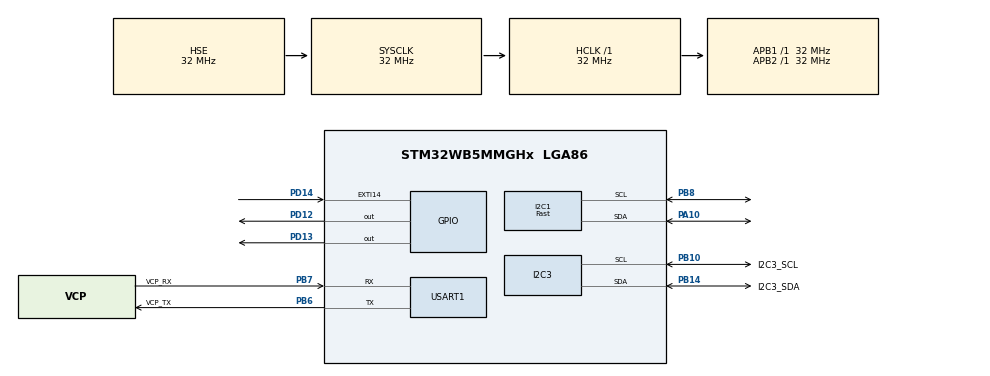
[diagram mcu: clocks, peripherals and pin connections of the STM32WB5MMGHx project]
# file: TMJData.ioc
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Dma.I2C1_RX.0.Direction=DMA_PERIPH_TO_MEMORY
Dma.I2C1_RX.0.EventEnable=DISABLE
Dma.I2C1_RX.0.Instance=DMA1_Channel1
Dma.I2C1_RX.0.MemDataAlignment=DMA_MDATAALIGN_BYTE
Dma.I2C1_RX.0.MemInc=DMA_MINC_ENABLE
Dma.I2C1_RX.0.Mode=DMA_NORMAL
Dma.I2C1_RX.0.PeriphDataAlignment=DMA_PDATAALIGN_BYTE
Dma.I2C1_RX.0.PeriphInc=DMA_PINC_DISABLE
Dma.I2C1_RX.0.Polarity=HAL_DMAMUX_REQ_GEN_RISING
Dma.I2C1_RX.0.Priority=DMA_PRIORITY_LOW
Dma.I2C1_RX.0.RequestNumber=1
Dma.I2C1_RX.0.SignalID=NONE
Dma.I2C1_RX.0.SyncEnable=DISABLE
Dma.I2C1_RX.0.SyncPolarity=HAL_DMAMUX_SYNC_NO_EVENT
Dma.I2C1_RX.0.SyncRequestNumber=1
Dma.I2C1_RX.0.SyncSignalID=NONE
Dma.I2C1_TX.1.Direction=DMA_MEMORY_TO_PERIPH
Dma.I2C1_TX.1.EventEnable=DISABLE
Dma.I2C1_TX.1.Instance=DMA1_Channel2
Dma.I2C1_TX.1.MemDataAlignment=DMA_MDATAALIGN_BYTE
Dma.I2C1_TX.1.MemInc=DMA_MINC_ENABLE
Dma.I2C1_TX.1.Mode=DMA_NORMAL
Dma.I2C1_TX.1.PeriphDataAlignment=DMA_PDATAALIGN_BYTE
Dma.I2C1_TX.1.PeriphInc=DMA_PINC_DISABLE
Dma.I2C1_TX.1.Polarity=HAL_DMAMUX_REQ_GEN_RISING
Dma.I2C1_TX.1.Priority=DMA_PRIORITY_LOW
Dma.I2C1_TX.1.RequestNumber=1
Dma.I2C1_TX.1.SignalID=NONE
Dma.I2C1_TX.1.SyncEnable=DISABLE
Dma.I2C1_TX.1.SyncPolarity=HAL_DMAMUX_SYNC_NO_EVENT
Dma.I2C1_TX.1.SyncRequestNumber=1
Dma.I2C1_TX.1.SyncSignalID=NONE
Dma.I2C3_RX.2.Direction=DMA_PERIPH_TO_MEMORY
Dma.I2C3_RX.2.EventEnable=DISABLE
Dma.I2C3_RX.2.Instance=DMA1_Channel3
Dma.I2C3_RX.2.MemDataAlignment=DMA_MDATAALIGN_BYTE
Dma.I2C3_RX.2.MemInc=DMA_MINC_ENABLE
Dma.I2C3_RX.2.Mode=DMA_NORMAL
Dma.I2C3_RX.2.PeriphDataAlignment=DMA_PDATAALIGN_BYTE
Dma.I2C3_RX.2.PeriphInc=DMA_PINC_DISABLE
Dma.I2C3_RX.2.Polarity=HAL_DMAMUX_REQ_GEN_RISING
Dma.I2C3_RX.2.Priority=DMA_PRIORITY_LOW
Dma.I2C3_RX.2.RequestNumber=1
Dma.I2C3_RX.2.SignalID=NONE
Dma.I2C3_RX.2.SyncEnable=DISABLE
Dma.I2C3_RX.2.SyncPolarity=HAL_DMAMUX_SYNC_NO_EVENT
Dma.I2C3_RX.2.SyncRequestNumber=1
Dma.I2C3_RX.2.SyncSignalID=NONE
Dma.I2C3_TX.3.Direction=DMA_MEMORY_TO_PERIPH
Dma.I2C3_TX.3.EventEnable=DISABLE
Dma.I2C3_TX.3.Instance=DMA1_Channel4
Dma.I2C3_TX.3.MemDataAlignment=DMA_MDATAALIGN_BYTE
Dma.I2C3_TX.3.MemInc=DMA_MINC_ENABLE
Dma.I2C3_TX.3.Mode=DMA_NORMAL
Dma.I2C3_TX.3.PeriphDataAlignment=DMA_PDATAALIGN_BYTE
Dma.I2C3_TX.3.PeriphInc=DMA_PINC_DISABLE
Dma.I2C3_TX.3.Polarity=HAL_DMAMUX_REQ_GEN_RISING
Dma.I2C3_TX.3.Priority=DMA_PRIORITY_LOW
Dma.I2C3_TX.3.RequestNumber=1
Dma.I2C3_TX.3.SignalID=NONE
Dma.I2C3_TX.3.SyncEnable=DISABLE
Dma.I2C3_TX.3.SyncPolarity=HAL_DMAMUX_SYNC_NO_EVENT
Dma.I2C3_TX.3.SyncRequestNumber=1
Dma.I2C3_TX.3.SyncSignalID=NONE
Dma.Request0=I2C1_RX
Dma.Request1=I2C1_TX
Dma.Request2=I2C3_RX
Dma.Request3=I2C3_TX
Dma.Request4=USART1_RX
Dma.Request5=USART1_TX
Dma.USART1_RX.4.Direction=DMA_PERIPH_TO_MEMORY
Dma.USART1_RX.4.EventEnable=DISABLE
Dma.USART1_RX.4.Instance=DMA1_Channel5
Dma.USART1_RX.4.MemDataAlignment=DMA_MDATAALIGN_BYTE
Dma.USART1_RX.4.MemInc=DMA_MINC_ENABLE
Dma.USART1_RX.4.Mode=DMA_NORMAL
Dma.USART1_RX.4.PeriphDataAlignment=DMA_PDATAALIGN_BYTE
Dma.USART1_RX.4.PeriphInc=DMA_PINC_DISABLE
Dma.USART1_RX.4.Polarity=HAL_DMAMUX_REQ_GEN_RISING
Dma.USART1_RX.4.Priority=DMA_PRIORITY_LOW
Dma.USART1_RX.4.RequestNumber=1
Dma.USART1_RX.4.SignalID=NONE
Dma.USART1_RX.4.SyncEnable=DISABLE
Dma.USART1_RX.4.SyncPolarity=HAL_DMAMUX_SYNC_NO_EVENT
Dma.USART1_RX.4.SyncRequestNumber=1
Dma.USART1_RX.4.SyncSignalID=NONE
Dma.USART1_TX.5.Direction=DMA_MEMORY_TO_PERIPH
Dma.USART1_TX.5.EventEnable=DISABLE
Dma.USART1_TX.5.Instance=DMA1_Channel6
Dma.USART1_TX.5.MemDataAlignment=DMA_MDATAALIGN_BYTE
Dma.USART1_TX.5.MemInc=DMA_MINC_ENABLE
Dma.USART1_TX.5.Mode=DMA_NORMAL
Dma.USART1_TX.5.PeriphDataAlignment=DMA_PDATAALIGN_BYTE
Dma.USART1_TX.5.PeriphInc=DMA_PINC_DISABLE
Dma.USART1_TX.5.Polarity=HAL_DMAMUX_REQ_GEN_RISING
Dma.USART1_TX.5.Priority=DMA_PRIORITY_LOW
Dma.USART1_TX.5.RequestNumber=1
Dma.USART1_TX.5.SignalID=NONE
Dma.USART1_TX.5.SyncEnable=DISABLE
Dma.USART1_TX.5.SyncPolarity=HAL_DMAMUX_SYNC_NO_EVENT
Dma.USART1_TX.5.SyncRequestNumber=1
Dma.USART1_TX.5.SyncSignalID=NONE
I2C1.I2C_Speed_Mode=I2C_Fast
I2C1.Timing=0x0060112F
I2C3.Timing=0x00B07CB4
Mcu.Family=STM32WB
Mcu.Name=STM32WB5MMGHx
Mcu.Package=LGA86
NVIC.DMA1_Channel1_IRQn=true\:2\:0\:true\:false\:true\:false\:true\:true
NVIC.DMA1_Channel2_IRQn=true\:2\:0\:true\:false\:true\:false\:true\:true
NVIC.DMA1_Channel3_IRQn=true\:2\:0\:true\:false\:true\:false\:true\:true
NVIC.DMA1_Channel4_IRQn=true\:2\:0\:true\:false\:true\:false\:true\:true
NVIC.DMA1_Channel5_IRQn=true\:0\:0\:false\:false\:true\:false\:true\:true
NVIC.DMA1_Channel6_IRQn=true\:0\:0\:false\:false\:true\:false\:true\:true
NVIC.EXTI15_10_IRQn=true\:4\:0\:true\:false\:true\:true\:true\:true
NVIC.HSEM_IRQn=true\:0\:0\:false\:false\:true\:false\:true\:true
NVIC.I2C1_ER_IRQn=true\:0\:0\:true\:false\:true\:true\:true\:true
NVIC.I2C1_EV_IRQn=true\:1\:0\:true\:false\:true\:true\:true\:true
NVIC.I2C3_ER_IRQn=true\:0\:0\:false\:false\:true\:true\:true\:true
NVIC.I2C3_EV_IRQn=true\:0\:0\:false\:false\:true\:true\:true\:true
NVIC.IPCC_C1_RX_IRQn=true\:0\:0\:false\:false\:true\:true\:true\:true
NVIC.IPCC_C1_TX_IRQn=true\:0\:0\:false\:false\:true\:true\:true\:true
NVIC.PriorityGroup=NVIC_PRIORITYGROUP_4
NVIC.RTC_WKUP_IRQn=true\:0\:0\:false\:false\:true\:true\:true\:true
NVIC.USART1_IRQn=true\:0\:0\:false\:false\:true\:true\:true\:true
PA10.GPIO_Mode=GPIO_MODE_AF_OD
PA10.GPIO_Pu=GPIO_PULLUP
PA10.GPIO_Speed=GPIO_SPEED_FREQ_VERY_HIGH
PA10.Mode=I2C
PA10.Signal=I2C1_SDA
PA13.GPIO_Label=T_SWDIO
PA13.Mode=Serial_Wire
PA13.Signal=SYS_JTMS-SWDIO
PA14.GPIO_Label=T_SWCLK
PA14.Mode=Serial_Wire
PA14.Signal=SYS_JTCK-SWCLK
PB10.GPIO_Label=I2C3_SCL
PB10.GPIO_Pu=GPIO_PULLUP
PB10.GPIO_Speed=GPIO_SPEED_FREQ_HIGH
PB10.Mode=I2C
PB10.Signal=I2C3_SCL
PB14.GPIO_Label=I2C3_SDA
PB14.GPIO_Pu=GPIO_PULLUP
PB14.GPIO_Speed=GPIO_SPEED_FREQ_HIGH
PB14.Mode=I2C
PB14.Signal=I2C3_SDA
PB6.GPIO_Label=VCP_TX
PB6.Mode=Asynchronous
PB6.Signal=USART1_TX
PB7.GPIO_Label=VCP_RX
PB7.Mode=Asynchronous
PB7.Signal=USART1_RX
PB8.GPIO_Mode=GPIO_MODE_AF_OD
PB8.GPIO_Pu=GPIO_PULLUP
PB8.GPIO_Speed=GPIO_SPEED_FREQ_VERY_HIGH
PB8.Mode=I2C
PB8.Signal=I2C1_SCL
PD12.Signal=GPIO_Output
PD13.Signal=GPIO_Output
PD14.GPIO_PuPd=GPIO_PULLDOWN
PD14.Signal=GPXTI14
ProjectManager.HeapSize=0x200
ProjectManager.StackSize=0x400
ProjectManager.TargetToolchain=STM32CubeIDE
RCC.AHBFreq_Value=32000000
RCC.APB1Freq_Value=32000000
RCC.APB1TimFreq_Value=32000000
RCC.APB2Freq_Value=32000000
RCC.APB2TimFreq_Value=32000000
RCC.APB3Freq_Value=16000000
RCC.CortexFreq_Value=32000000
RCC.HCLKFreq_Value=32000000
RCC.HSE_VALUE=32000000
RCC.HSI48_VALUE=48000000
RCC.HSI_VALUE=16000000
RCC.PLLN=24
RCC.PLLR=RCC_PLLR_DIV3
RCC.RFWKPClockSelection=RCC_RFWKPCLKSOURCE_LSE
RCC.RTCClockSelection=RCC_RTCCLKSOURCE_LSE
RCC.SYSCLKFreq_VALUE=32000000
RCC.SYSCLKSource=RCC_SYSCLKSOURCE_HSE
RCC.VCOOutputFreq_Value=96000000
STM32_WPAN.BLE_DBG_APP_EN=1
STM32_WPAN.CFG_DEBUG_APP_TRACE=1
STM32_WPAN.CFG_DEBUG_BLE_TRACE=1
STM32_WPAN.CFG_DEBUG_TRACE_LIGHT=1
STM32_WPAN.CFG_DEBUG_TRACE_UART=hw_uart1
STM32_WPAN.CFG_HW_USART1_ENABLED=1
STM32_WPAN.CFG_LPM_SUPPORTED=0
STM32_WPAN.CFG_LSCLK_LSE=0
STM32_WPAN.LOCAL_NAME=TMJData
STM32_WPAN.LOCAL_NAME_FORMATTED=,'T','M','J','D','a','t','a'
USART1.VirtualMode-Asynchronous=VM_ASYNC
VP_HSEM_VS_HSEM.Mode=HSEM_Activate
VP_IPCC_VS_IPCC.Mode=IPCC_Activate
VP_MEMORYMAP_VS_MEMORYMAP.Mode=CurAppReg
VP_RCC_V_OSC32_IN.Mode=LSE-External-Clock-Source
VP_RCC_V_OSC_IN.Mode=HSE-External-Clock-Source
VP_RF_VS_RF.Mode=RF_Activate
VP_RTC_VS_RTC_Activate.Mode=RTC_Enabled
VP_RTC_VS_RTC_WakeUp_intern.Mode=WakeUp
VP_SEQUENCER_VS_SEQUENCER.Mode=SEQUENCER_Enabled
VP_STM32_WPAN_VS_BLE_HOST.Mode=STM32_WPAN_Enabled
VP_TINY_LPM_VS_TINY_LPM.Mode=TINY_LPM_Enabled
board=STM32WB5MM-DK

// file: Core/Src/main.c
/* USER CODE BEGIN Header */
/**
  ******************************************************************************
  * @file           : main.c
  * @brief          : Main program body
  ******************************************************************************
  * @attention
  *
  * Copyright (c) 2025 STMicroelectronics.
  * All rights reserved.
  *
  * This software is licensed under terms that can be found in the LICENSE file
  * in the root directory of this software component.
  * If no LICENSE file comes with this software, it is provided AS-IS.
  *
  ******************************************************************************
  */
/* USER CODE END Header */
#include "main.h"

/* USER CODE BEGIN Includes */
#include "IMUFunctions.h"
#include "MagFunctions.h"
#include "Mahony.h"
#include "p2p_server_app.h"
/* USER CODE END Includes */

I2C_HandleTypeDef hi2c1;
I2C_HandleTypeDef hi2c3;
DMA_HandleTypeDef hdma_i2c1_rx;
DMA_HandleTypeDef hdma_i2c1_tx;
DMA_HandleTypeDef hdma_i2c3_rx;
DMA_HandleTypeDef hdma_i2c3_tx;

IPCC_HandleTypeDef hipcc;

RTC_HandleTypeDef hrtc;

UART_HandleTypeDef huart1;
DMA_HandleTypeDef hdma_usart1_rx;
DMA_HandleTypeDef hdma_usart1_tx;

/* USER CODE BEGIN PV */

// UART variables
volatile char uartRxBuffer[20];
volatile uint8_t uartRxIndex = 0;
volatile uint8_t UARTSendData = 0;
volatile uint8_t ClearSampleIndex = 0;

/* USER CODE END PV */

void SystemClock_Config(void);
void PeriphCommonClock_Config(void);
void MX_GPIO_Init(void);
void MX_DMA_Init(void);
void MX_I2C1_Init(void);
void MX_I2C3_Init(void);
void MX_IPCC_Init(void);
void MX_RTC_Init(void);
void MX_USART1_UART_Init(void);
void MX_RF_Init(void);

int main(void)
{

  /* MCU Configuration--------------------------------------------------------*/

  /* Reset of all peripherals, Initializes the Flash interface and the Systick. */
  HAL_Init();
  /* Config code for STM32_WPAN (HSE Tuning must be done before system clock configuration) */
  MX_APPE_Config();

  /* Configure the system clock */
  SystemClock_Config();

  /* Configure the peripherals common clocks */
  PeriphCommonClock_Config();

  /* IPCC initialisation */
  MX_IPCC_Init();

  /* Initialize all configured peripherals */
  MX_GPIO_Init();
  MX_DMA_Init();
  MX_I2C1_Init();
  MX_I2C3_Init();
  MX_RTC_Init();
  MX_USART1_UART_Init();
  MX_RF_Init();
  /* USER CODE BEGIN 2 */

  IMUInit(); // initialize the IMU
  MagInit(); // initialize the magnetic sensor

  if ( (IMUState == IMU_IDLE) && (MagState == MAG_IDLE) )
  {
	  // toggle led to show initialisation success
	  HAL_GPIO_WritePin(GPIOD, GPIO_PIN_12, SET);
	  HAL_Delay(500);
	  HAL_GPIO_WritePin(GPIOD, GPIO_PIN_12, RESET);
  }
  /* USER CODE END 2 */

  /* Init code for STM32_WPAN */
  MX_APPE_Init();

  /* Infinite loop */
  while (1)
  {
    MX_APPE_Process();

    /* USER CODE BEGIN 3 */
	  // magnetic sensor
	  if (MagSMFlag == 1)
	  {
	      MagSingleMode();
	  }
	  if ((MagState == MAG_SINGLEMEASUREMENT) && (MagDMABusy == 0)  && (MagSMFlag == 0))
	  {
		  MagRead();
	  }
	  if (MagGetDataFlag == 1)
	  {
	      MagGetData();
	  }

	  // IMU
	  if( (IMUDataReadyFlag == 1) && (IMUGetDataFlag == 0) && (IMUState == IMU_IDLE))
	  {
		  IMURead();
	  }
	  if (IMUGetDataFlag == 1)
	  {
		  IMUGetData();
	  }

	  // madgwick filter
	  if ( (IMUMadgwick==1) && (MagMadgwick == 1) )
	  {
		  IMUAverage();
		  MagAverage();
//		  UpdateMadgwick();		// put data through madgwick filter
		  MahonyAHRSupdate();

		  // update the sensor data for BLE transmission
		  P2PS_APP_Update_SensorData();

		  // reset the flags
		  IMUMadgwick = 0;
		  MagMadgwick = 0;
	  }

	  // UART
	  if ( UARTSendData == 1 )
	  {
		  SendDataOverUART();
		 // UARTSendData = 0;
	  }
	  if ( ClearSampleIndex == 1 )
	  {
		  ClearDataOverUART();
		 // ClearSampleIndex = 0;
	  }
  }
  /* USER CODE END 3 */
}

void SystemClock_Config(void)
{
  RCC_OscInitTypeDef RCC_OscInitStruct = {0};
  RCC_ClkInitTypeDef RCC_ClkInitStruct = {0};

  /** Configure LSE Drive Capability
  */
  HAL_PWR_EnableBkUpAccess();
  __HAL_RCC_LSEDRIVE_CONFIG(RCC_LSEDRIVE_MEDIUMHIGH);

  /** Configure the main internal regulator output voltage
  */
  __HAL_PWR_VOLTAGESCALING_CONFIG(PWR_REGULATOR_VOLTAGE_SCALE1);

  /** Initializes the RCC Oscillators according to the specified parameters
  * in the RCC_OscInitTypeDef structure.
  */
  RCC_OscInitStruct.OscillatorType = RCC_OSCILLATORTYPE_HSI|RCC_OSCILLATORTYPE_HSE
                              |RCC_OSCILLATORTYPE_LSE;
  RCC_OscInitStruct.HSEState = RCC_HSE_ON;
  RCC_OscInitStruct.LSEState = RCC_LSE_ON;
  RCC_OscInitStruct.HSIState = RCC_HSI_ON;
  RCC_OscInitStruct.HSICalibrationValue = RCC_HSICALIBRATION_DEFAULT;
  RCC_OscInitStruct.PLL.PLLState = RCC_PLL_NONE;
  if (HAL_RCC_OscConfig(&RCC_OscInitStruct) != HAL_OK)
  {
    Error_Handler();
  }

  /** Configure the SYSCLKSource, HCLK, PCLK1 and PCLK2 clocks dividers
  */
  RCC_ClkInitStruct.ClockType = RCC_CLOCKTYPE_HCLK4|RCC_CLOCKTYPE_HCLK2
                              |RCC_CLOCKTYPE_HCLK|RCC_CLOCKTYPE_SYSCLK
                              |RCC_CLOCKTYPE_PCLK1|RCC_CLOCKTYPE_PCLK2;
  RCC_ClkInitStruct.SYSCLKSource = RCC_SYSCLKSOURCE_HSE;
  RCC_ClkInitStruct.AHBCLKDivider = RCC_SYSCLK_DIV1;
  RCC_ClkInitStruct.APB1CLKDivider = RCC_HCLK_DIV1;
  RCC_ClkInitStruct.APB2CLKDivider = RCC_HCLK_DIV1;
  RCC_ClkInitStruct.AHBCLK2Divider = RCC_SYSCLK_DIV1;
  RCC_ClkInitStruct.AHBCLK4Divider = RCC_SYSCLK_DIV1;

  if (HAL_RCC_ClockConfig(&RCC_ClkInitStruct, FLASH_LATENCY_1) != HAL_OK)
  {
    Error_Handler();
  }
}

void PeriphCommonClock_Config(void)
{
  RCC_PeriphCLKInitTypeDef PeriphClkInitStruct = {0};

  /** Initializes the peripherals clock
  */
  PeriphClkInitStruct.PeriphClockSelection = RCC_PERIPHCLK_SMPS|RCC_PERIPHCLK_RFWAKEUP;
  PeriphClkInitStruct.RFWakeUpClockSelection = RCC_RFWKPCLKSOURCE_LSE;
  PeriphClkInitStruct.SmpsClockSelection = RCC_SMPSCLKSOURCE_HSI;
  PeriphClkInitStruct.SmpsDivSelection = RCC_SMPSCLKDIV_RANGE1;

  if (HAL_RCCEx_PeriphCLKConfig(&PeriphClkInitStruct) != HAL_OK)
  {
    Error_Handler();
  }
}

void MX_I2C1_Init(void)
{

  hi2c1.Instance = I2C1;
  hi2c1.Init.Timing = 0x0060112F;
  hi2c1.Init.OwnAddress1 = 0;
  hi2c1.Init.AddressingMode = I2C_ADDRESSINGMODE_7BIT;
  hi2c1.Init.DualAddressMode = I2C_DUALADDRESS_DISABLE;
  hi2c1.Init.OwnAddress2 = 0;
  hi2c1.Init.OwnAddress2Masks = I2C_OA2_NOMASK;
  hi2c1.Init.GeneralCallMode = I2C_GENERALCALL_DISABLE;
  hi2c1.Init.NoStretchMode = I2C_NOSTRETCH_DISABLE;
  if (HAL_I2C_Init(&hi2c1) != HAL_OK)
  {
    Error_Handler();
  }

  /** Configure Analogue filter
  */
  if (HAL_I2CEx_ConfigAnalogFilter(&hi2c1, I2C_ANALOGFILTER_ENABLE) != HAL_OK)
  {
    Error_Handler();
  }

  /** Configure Digital filter
  */
  if (HAL_I2CEx_ConfigDigitalFilter(&hi2c1, 0) != HAL_OK)
  {
    Error_Handler();
  }

}

void MX_I2C3_Init(void)
{

  hi2c3.Instance = I2C3;
  hi2c3.Init.Timing = 0x00B07CB4;
  hi2c3.Init.OwnAddress1 = 0;
  hi2c3.Init.AddressingMode = I2C_ADDRESSINGMODE_7BIT;
  hi2c3.Init.DualAddressMode = I2C_DUALADDRESS_DISABLE;
  hi2c3.Init.OwnAddress2 = 0;
  hi2c3.Init.OwnAddress2Masks = I2C_OA2_NOMASK;
  hi2c3.Init.GeneralCallMode = I2C_GENERALCALL_DISABLE;
  hi2c3.Init.NoStretchMode = I2C_NOSTRETCH_DISABLE;
  if (HAL_I2C_Init(&hi2c3) != HAL_OK)
  {
    Error_Handler();
  }

  /** Configure Analogue filter
  */
  if (HAL_I2CEx_ConfigAnalogFilter(&hi2c3, I2C_ANALOGFILTER_ENABLE) != HAL_OK)
  {
    Error_Handler();
  }

  /** Configure Digital filter
  */
  if (HAL_I2CEx_ConfigDigitalFilter(&hi2c3, 0) != HAL_OK)
  {
    Error_Handler();
  }

}

void MX_IPCC_Init(void)
{

  hipcc.Instance = IPCC;
  if (HAL_IPCC_Init(&hipcc) != HAL_OK)
  {
    Error_Handler();
  }

}

void MX_RF_Init(void)
{

}

void MX_RTC_Init(void)
{

  /** Initialize RTC Only
  */
  hrtc.Instance = RTC;
  hrtc.Init.HourFormat = RTC_HOURFORMAT_24;
  hrtc.Init.AsynchPrediv = CFG_RTC_ASYNCH_PRESCALER;
  hrtc.Init.SynchPrediv = CFG_RTC_SYNCH_PRESCALER;
  hrtc.Init.OutPut = RTC_OUTPUT_DISABLE;
  hrtc.Init.OutPutPolarity = RTC_OUTPUT_POLARITY_HIGH;
  hrtc.Init.OutPutType = RTC_OUTPUT_TYPE_OPENDRAIN;
  hrtc.Init.OutPutRemap = RTC_OUTPUT_REMAP_NONE;
  if (HAL_RTC_Init(&hrtc) != HAL_OK)
  {
    Error_Handler();
  }

  /** Enable the WakeUp
  */
  if (HAL_RTCEx_SetWakeUpTimer_IT(&hrtc, 0, RTC_WAKEUPCLOCK_RTCCLK_DIV16) != HAL_OK)
  {
    Error_Handler();
  }

}

void MX_USART1_UART_Init(void)
{

  huart1.Instance = USART1;
  huart1.Init.BaudRate = 115200;
  huart1.Init.WordLength = UART_WORDLENGTH_8B;
  huart1.Init.StopBits = UART_STOPBITS_1;
  huart1.Init.Parity = UART_PARITY_NONE;
  huart1.Init.Mode = UART_MODE_TX_RX;
  huart1.Init.HwFlowCtl = UART_HWCONTROL_NONE;
  huart1.Init.OverSampling = UART_OVERSAMPLING_8;
  huart1.Init.OneBitSampling = UART_ONE_BIT_SAMPLE_DISABLE;
  huart1.Init.ClockPrescaler = UART_PRESCALER_DIV1;
  huart1.AdvancedInit.AdvFeatureInit = UART_ADVFEATURE_NO_INIT;
  if (HAL_UART_Init(&huart1) != HAL_OK)
  {
    Error_Handler();
  }
  if (HAL_UARTEx_SetTxFifoThreshold(&huart1, UART_TXFIFO_THRESHOLD_1_8) != HAL_OK)
  {
    Error_Handler();
  }
  if (HAL_UARTEx_SetRxFifoThreshold(&huart1, UART_RXFIFO_THRESHOLD_1_8) != HAL_OK)
  {
    Error_Handler();
  }
  if (HAL_UARTEx_DisableFifoMode(&huart1) != HAL_OK)
  {
    Error_Handler();
  }

}

void MX_DMA_Init(void)
{

  /* DMA controller clock enable */
  __HAL_RCC_DMAMUX1_CLK_ENABLE();
  __HAL_RCC_DMA1_CLK_ENABLE();

  /* DMA interrupt init */
  /* DMA1_Channel1_IRQn interrupt configuration */
  HAL_NVIC_SetPriority(DMA1_Channel1_IRQn, 2, 0);
  HAL_NVIC_EnableIRQ(DMA1_Channel1_IRQn);
  /* DMA1_Channel2_IRQn interrupt configuration */
  HAL_NVIC_SetPriority(DMA1_Channel2_IRQn, 2, 0);
  HAL_NVIC_EnableIRQ(DMA1_Channel2_IRQn);
  /* DMA1_Channel3_IRQn interrupt configuration */
  HAL_NVIC_SetPriority(DMA1_Channel3_IRQn, 2, 0);
  HAL_NVIC_EnableIRQ(DMA1_Channel3_IRQn);
  /* DMA1_Channel4_IRQn interrupt configuration */
  HAL_NVIC_SetPriority(DMA1_Channel4_IRQn, 2, 0);
  HAL_NVIC_EnableIRQ(DMA1_Channel4_IRQn);
  /* DMA1_Channel5_IRQn interrupt configuration */
  HAL_NVIC_SetPriority(DMA1_Channel5_IRQn, 0, 0);
  HAL_NVIC_EnableIRQ(DMA1_Channel5_IRQn);
  /* DMA1_Channel6_IRQn interrupt configuration */
  HAL_NVIC_SetPriority(DMA1_Channel6_IRQn, 0, 0);
  HAL_NVIC_EnableIRQ(DMA1_Channel6_IRQn);

}

void MX_GPIO_Init(void)
{
  GPIO_InitTypeDef GPIO_InitStruct = {0};

  /* GPIO Ports Clock Enable */
  __HAL_RCC_GPIOB_CLK_ENABLE();
  __HAL_RCC_GPIOA_CLK_ENABLE();
  __HAL_RCC_GPIOD_CLK_ENABLE();

  /*Configure GPIO pin Output Level */
  HAL_GPIO_WritePin(GPIOD, GPIO_PIN_13|GPIO_PIN_12, GPIO_PIN_RESET);

  /*Configure GPIO pin : PD14 */
  GPIO_InitStruct.Pin = GPIO_PIN_14;
  GPIO_InitStruct.Mode = GPIO_MODE_IT_RISING;
  GPIO_InitStruct.Pull = GPIO_PULLDOWN;
  HAL_GPIO_Init(GPIOD, &GPIO_InitStruct);

  /*Configure GPIO pins : PD13 PD12 */
  GPIO_InitStruct.Pin = GPIO_PIN_13|GPIO_PIN_12;
  GPIO_InitStruct.Mode = GPIO_MODE_OUTPUT_PP;
  GPIO_InitStruct.Pull = GPIO_NOPULL;
  GPIO_InitStruct.Speed = GPIO_SPEED_FREQ_LOW;
  HAL_GPIO_Init(GPIOD, &GPIO_InitStruct);

  /* EXTI interrupt init*/
  HAL_NVIC_SetPriority(EXTI15_10_IRQn, 4, 0);
  HAL_NVIC_EnableIRQ(EXTI15_10_IRQn);

}

/* USER CODE BEGIN 4 */

// EXTI interrupt callback
void HAL_GPIO_EXTI_Callback(uint16_t GPIO_Pin)
{
    if (GPIO_Pin == GPIO_PIN_14)  // if interrupt is from IMU INT1 pin
    {
    	IMUDataReadyFlag = 1;

        if (MagState == MAG_IDLE)
        {
            MagSMFlag = 1;
        }
    }
}

// DMA Rx complete callback
void HAL_I2C_MemRxCpltCallback(I2C_HandleTypeDef *hi2c)
{
	if (hi2c->Instance == I2C1)	// IMU
	{
		IMUDMABusy = 0; 	// reset IMU DMA flag

		if (IMUState == IMU_READING)	// if Rx complete in reading state
		{
			IMUState = IMU_COMPLETE;	// set state to be complete -> data reading is complete
			IMUGetDataFlag = 1;			// set the IMU get data flag
		}
	}

	if (hi2c->Instance == I2C3) // magnetic sensor
	{
        MagDMABusy = 0;  // Reset DMA busy flag

        if (MagState == MAG_READING)
        {
            MagState = MAG_COMPLETE;    // set state to be complete -> data reading is complete
            MagGetDataFlag = 1;         // set the magnetic sensor get data flag
        }
	}
}

// DMA Tx complete callback
void HAL_I2C_MemTxCpltCallback(I2C_HandleTypeDef *hi2c)
{
	if (hi2c->Instance == I2C1) // IMU
	{
		IMUDMABusy = 0; 	// reset IMU DMA flag
	}
}

/* USER CODE END 4 */

void Error_Handler(void)
{
  __disable_irq();
  while (1)
  {
  }
}
